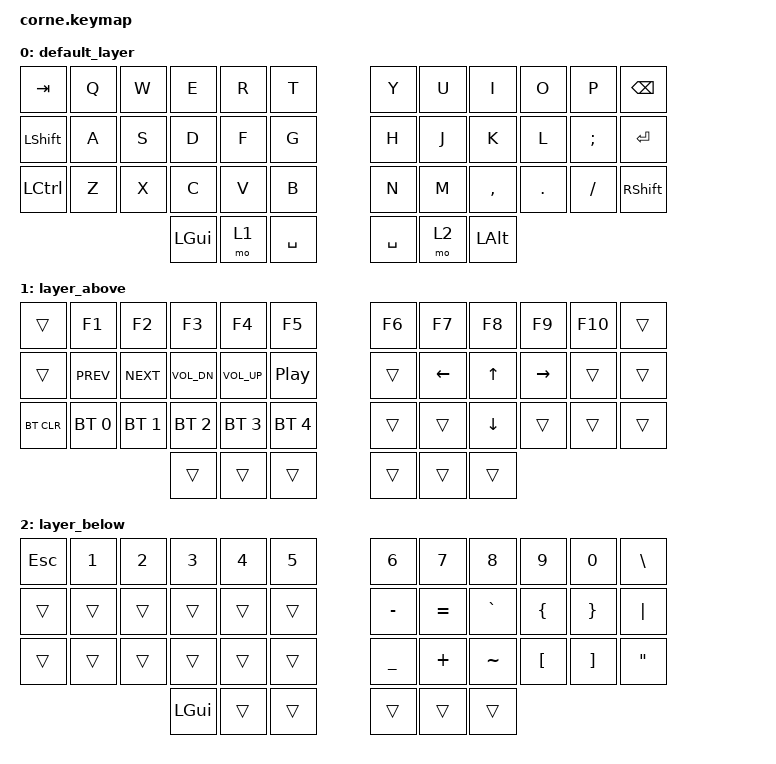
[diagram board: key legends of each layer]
/*
 * Copyright (c) 2020 The ZMK Contributors
 *
 * SPDX-License-Identifier: MIT
 */

#include <behaviors.dtsi>
#include <dt-bindings/zmk/bt.h>
#include <dt-bindings/zmk/keys.h>

/ {
    behaviors {
        tp: tap_preferred {
            compatible = "zmk,behavior-hold-tap";
            label = "TAP_PREFERRED";
            #binding-cells = <2>;
            tapping-term-ms = <150>;
            quick-tap-ms = <0>;
            flavor = "tap-preferred";
            bindings = <&kp>, <&kp>;
        };
    };

    keymap {
        compatible = "zmk,keymap";

        default_layer {
            // -----------------------------------------------------------------------------------------
            // | TAB  |  Q  |  W  |  E  |  R  |    T    |   |  Y  |  U   |  I  |  O  |  P  | ESC |
            // | CTRL |  A  |  S  |  D  |  F  |    G    |   |  H  |  J   |  K  |  L  |  ;  |  LWR/'   |
            // | SHFT |  Z  |  X  |  C  |  V  |    B    |   |  N  |  M   |  ,  |  .  |  /  | SHFT |
            //                    | GUI | LWR | ALT/ENT |   | HYPER/SPC | BKSP  | RSE |

            bindings = <
&kp TAB         &kp Q  &kp W  &kp E     &kp R  &kp T        &kp Y      &kp U  &kp I         &kp O    &kp P     &kp BACKSPACE
&kp LEFT_SHIFT  &kp A  &kp S  &kp D     &kp F  &kp G        &kp H      &kp J  &kp K         &kp L    &kp SEMI  &kp ENTER
&kp LCTRL       &kp Z  &kp X  &kp C     &kp V  &kp B        &kp N      &kp M  &kp COMMA     &kp DOT  &kp FSLH  &kp RSHFT
                              &kp LGUI  &mo 1  &kp SPACE    &kp SPACE  &mo 2  &kp LEFT_ALT
            >;
        };

        layer_above {
            // -----------------------------------------------------------------------------------------
            // |       |  F1  |  F2  |  F3  |  F4  |  F5 |            |  F6  |  F7  |  F8  |  F9  |  F10  |   |
            // |       | Prev | Next | Vol - | Vol + | Play/Pause |   |      | LFT | DWN |  UP | RGT |     |     |
            // | BTCLR | BT1 | BT2 | BT3 | BT4 | BT5 |   |            |     |     |     |     |     |     |
            //                    |     |     |    |                  |     |     |     |

            bindings = <
&trans      &kp F1        &kp F2        &kp F3        &kp F4        &kp F5          &kp F6  &kp F7          &kp F8          &kp F9           &kp F10  &trans
&trans      &kp C_PREV    &kp C_NEXT    &kp C_VOL_DN  &kp C_VOL_UP  &kp C_PP        &trans  &kp LEFT_ARROW  &kp UP_ARROW    &kp RIGHT_ARROW  &trans   &trans
&bt BT_CLR  &bt BT_SEL 0  &bt BT_SEL 1  &bt BT_SEL 2  &bt BT_SEL 3  &bt BT_SEL 4    &trans  &trans          &kp DOWN_ARROW  &trans           &trans   &trans
                                        &trans        &trans        &trans          &trans  &trans          &trans
            >;
        };

        layer_below {
            // -----------------------------------------------------------------------------------------
            // |      |  !  |  @  |  #  |  $  |    %     |   |  ^  |  &  |  *  |  (  |  )  |   \   |
            // |      |  1  |  2  |  3  |  4  |    5     |   |  -  |  =  |  `  |  [  |  ]  |  "|"  |
            // | SHFT |  6  |  7  |  8  |  9  |    0     |   |  _  |  +  |  ~  |  {  |  }  | RSHFT |
            //                     | GUI |     | ALT/ENT |   | HYPER/SPACE | BKSP |    |

            bindings = <
&kp ESCAPE  &kp NUMBER_1  &kp NUMBER_2  &kp NUMBER_3  &kp NUMBER_4  &kp NUMBER_5    &kp NUMBER_6  &kp NUMBER_7  &kp NUMBER_8  &kp NUMBER_9      &kp NUMBER_0       &kp BSLH
&trans      &trans        &trans        &trans        &trans        &trans          &kp MINUS     &kp EQUAL     &kp GRAVE     &kp LEFT_BRACE    &kp RIGHT_BRACE    &kp PIPE
&trans      &trans        &trans        &trans        &trans        &trans          &kp UNDER     &kp PLUS      &kp TILDE     &kp LEFT_BRACKET  &kp RIGHT_BRACKET  &kp DOUBLE_QUOTES
                                        &kp LGUI      &trans        &trans          &trans        &trans        &trans
            >;
        };
    };
};
